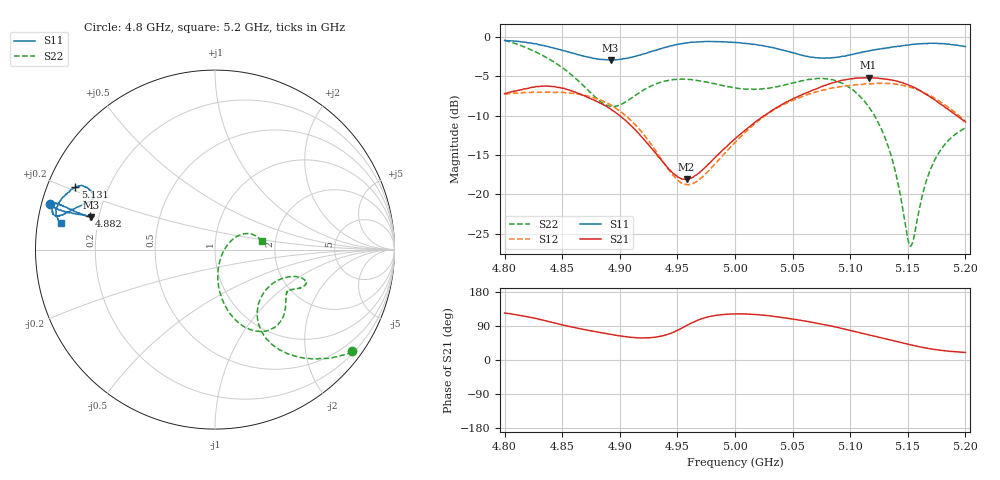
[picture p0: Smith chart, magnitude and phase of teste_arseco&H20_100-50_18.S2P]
! Network Analyzer HP8722D
! Hewlett-Packard
! Data name: Linha & Wilkinson
! Saver's name: Rodrigo Anjos
! Comments: Teste da utilização de aquisição
! continua pelo VNA HP8722D
! Time and date: 6/5/2025 12:43
!  Frequency  S11  S21  S12  S22
# HZ  S  MA R 50
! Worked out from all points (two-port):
!   401 points, 4.8 GHz to 5.2 GHz, reference 50 ohm
!   highest |S21| = -5.16 dB at 5.116 GHz (marker M1); lowest = -18.1 dB at 4.958 GHz (marker M2)
!   |S21| within 3 dB of the highest: start of sweep to 4.88 GHz; 5.046 GHz to 5.175 GHz (128.9 MHz wide, 2.52 % of centre)
!   lowest |S11| = -2.9 dB at 4.892 GHz (marker M3), VSWR 6.00, Z = 8.47 + j6.31 ohm
!   |S11| at or under -10 dB: nowhere
!   |S22| runs from -26.6 to -0.4 dB; largest |S21 - S12| = 0.71
!   S11 on the Smith chart (normalised r, x): 4.8 GHz: 0.02, +0.14; 4.882 GHz: 0.16, +0.13; 5.131 GHz: 0.08, +0.21; 5.2 GHz: 0.07, +0.09
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4.8e9  0.9522 164.5  0.4369 123.9  0.434 19.1  0.9509 -36.6
4.833e9  0.8842 165.6  0.4875 105.4  0.4462 9.0  0.7642 -51.8
4.867e9  0.7623 165.4  0.4297 81.4  0.431 -5.1  0.5026 -60.1
4.882e9  0.7225 165.1  0.3841 73.2  0.4013 -13.7  0.3956 -52.7
4.892e9  0.7144 165.2  0.349 67.8  0.3703 -20.0  0.363 -41.3
4.911e9  0.7469 165.2  0.2686 59.7  0.2886 -30.4  0.4138 -22.5
4.934e9  0.8375 164.5  0.1718 61.6  0.1766 -32.6  0.5119 -18.2
4.958e9  0.9174 163.8  0.1245 91.0  0.1154 -1.5  0.5392 -21.6
5e9  0.9263 167.4  0.2254 121.6  0.2143 40.0  0.4746 -28.1
5.034e9  0.8547 166.0  0.3488 115.0  0.3452 36.1  0.4792 -34.6
5.067e9  0.7472 158.7  0.4592 99.6  0.4409 21.8  0.541 -47.6
5.092e9  0.7512 155.2  0.5306 83.8  0.4847 8.1  0.5125 -62.6
5.116e9  0.816 154.2  0.552 66.1  0.5046 -6.1  0.3609 -77.0
5.131e9  0.8525 155.9  0.5421 55.7  0.5076 -15.7  0.2218 -84.1
5.134e9  0.8569 156.5  0.5361 53.4  0.5072 -17.8  0.1915 -84.4
5.141e9  0.875 158.1  0.524 48.4  0.4993 -22.7  0.1222 -82.1
5.15e9  0.8892 160.4  0.4986 41.7  0.4846 -28.8  0.05223 -48.6
5.153e9  0.8974 160.9  0.4874 39.6  0.4768 -30.8  0.04709 -18.7
5.164e9  0.9097 163.9  0.4403 32.5  0.4445 -37.7  0.1079 29.4
5.172e9  0.9132 165.7  0.4055 28.3  0.4139 -41.9  0.1576 30.6
5.184e9  0.9019 167.9  0.3522 23.8  0.3627 -47.4  0.2154 24.2
5.2e9  0.8709 170.2  0.2885 19.9  0.2913 -52.0  0.2641 10.2
